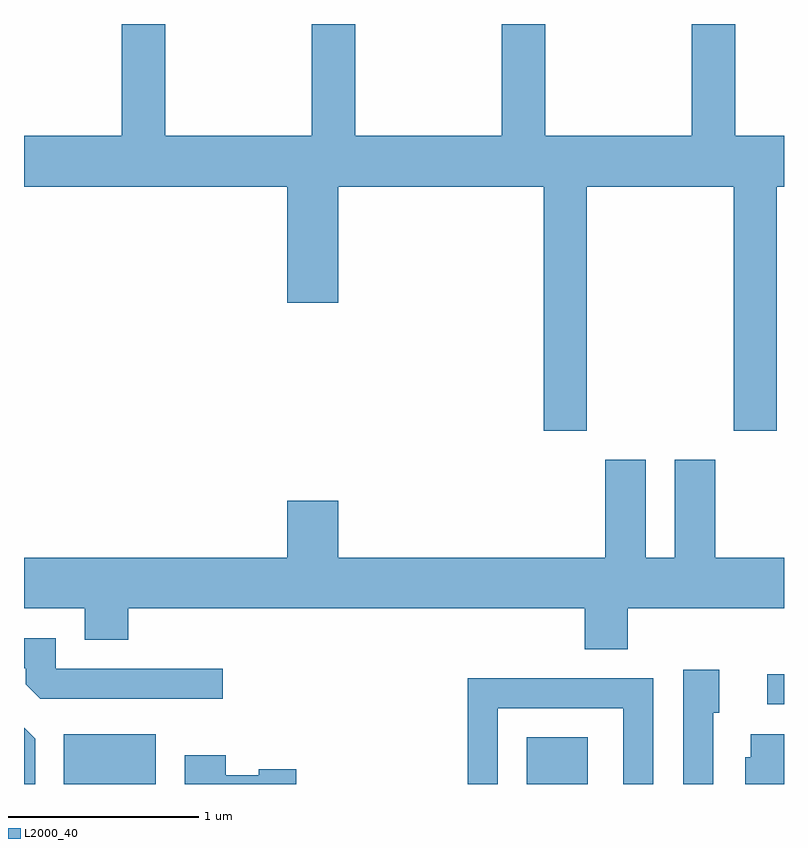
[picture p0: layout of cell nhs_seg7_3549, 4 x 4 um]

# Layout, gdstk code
import gdstk
lib = gdstk.Library(unit=1e-6, precision=1e-09)
def R(c, l, rs):  # rectangles x0, y0, x1, y1
    for r in rs: c.add(gdstk.rectangle(r[:2], r[2:], *l))
def P(c, l, *ps):  # polygons
    for p in ps: c.add(gdstk.Polygon(p, *l))
L2000_40 = (2000, 40)

nhs_seg7_3549 = lib.new_cell('nhs_seg7_3549')
R(nhs_seg7_3549, L2000_40, [(293.821,1742.252,294.304,1742.514), (296.256,1742.252,296.579,1742.499), (297.523,1742.671,297.611,1742.829)])
P(nhs_seg7_3549, L2000_40, [(296.354,1746.252),(296.126,1746.252),(296.126,1745.664),(295.354,1745.664),(295.354,1746.252),(295.126,1746.252),(295.126,1745.664),(294.354,1745.664),(294.354,1746.252),(294.126,1746.252),(294.126,1745.664),(293.611,1745.664),(293.611,1745.396),(294.996,1745.396),(294.996,1744.786),(295.264,1744.786),(295.264,1745.396),(296.346,1745.396),(296.346,1744.111),(296.574,1744.111),(296.574,1745.396),(297.346,1745.396),(297.346,1744.111),(297.574,1744.111),(297.574,1745.396),(297.611,1745.396),(297.611,1745.664),(297.354,1745.664),(297.354,1746.252),(297.126,1746.252),(297.126,1745.664),(296.354,1745.664)],
  [(296.789,1743.176),(297.611,1743.176),(297.611,1743.444),(297.249,1743.444),(297.249,1743.959),(297.036,1743.959),(297.036,1743.444),(296.884,1743.444),(296.884,1743.959),(296.671,1743.959),(296.671,1743.444),(295.264,1743.444),(295.264,1743.744),(294.996,1743.744),(294.996,1743.444),(293.611,1743.444),(293.611,1743.176),(293.931,1743.176),(293.931,1743.011),(294.159,1743.011),(294.159,1743.176),(296.561,1743.176),(296.561,1742.961),(296.789,1742.961)],
  [(294.658,1742.859),(293.779,1742.859),(293.779,1743.019),(293.611,1743.019),(293.611,1742.861),(293.621,1742.861),(293.621,1742.777),(293.697,1742.701),(294.658,1742.701)],
  [(297.239,1742.626),(297.269,1742.626),(297.269,1742.854),(297.081,1742.854),(297.081,1742.252),(297.239,1742.252)],
  [(296.104,1742.651),(296.766,1742.651),(296.766,1742.252),(296.924,1742.252),(296.924,1742.809),(295.946,1742.809),(295.946,1742.252),(296.104,1742.252)],
  [(293.669,1742.489),(293.611,1742.547),(293.611,1742.252),(293.669,1742.252)],
  [(297.611,1742.514),(297.436,1742.514),(297.436,1742.394),(297.406,1742.394),(297.406,1742.252),(297.611,1742.252)],
  [(295.044,1742.329),(294.846,1742.329),(294.846,1742.299),(294.674,1742.299),(294.674,1742.404),(294.456,1742.404),(294.456,1742.252),(295.044,1742.252)])

lib.write_gds('nhs_seg7_3549.gds')
